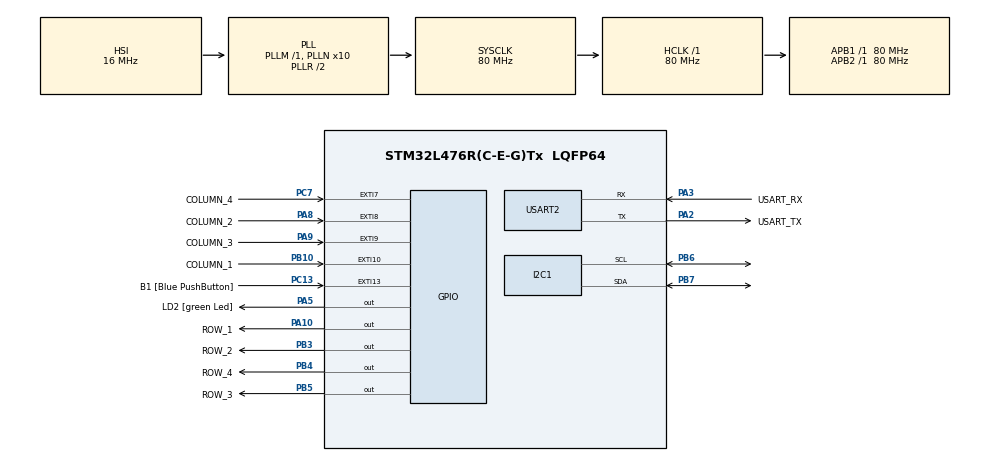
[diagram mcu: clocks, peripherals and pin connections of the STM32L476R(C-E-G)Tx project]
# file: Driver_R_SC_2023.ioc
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I2C1.Timing=0x10909CEC
Mcu.Family=STM32L4
Mcu.Name=STM32L476R(C-E-G)Tx
Mcu.Package=LQFP64
NVIC.EXTI15_10_IRQn=true\:0\:0\:false\:false\:true\:true\:true\:true
NVIC.EXTI9_5_IRQn=true\:0\:0\:false\:false\:true\:true\:true\:true
NVIC.PriorityGroup=NVIC_PRIORITYGROUP_4
NVIC.USART2_IRQn=true\:0\:0\:false\:false\:true\:true\:true\:true
PA10.GPIO_Label=ROW_1
PA10.Signal=GPIO_Output
PA13\ (JTMS-SWDIO).GPIO_Label=TMS
PA13\ (JTMS-SWDIO).Mode=Serial_Wire
PA13\ (JTMS-SWDIO).Signal=SYS_JTMS-SWDIO
PA14\ (JTCK-SWCLK).GPIO_Label=TCK
PA14\ (JTCK-SWCLK).Mode=Serial_Wire
PA14\ (JTCK-SWCLK).Signal=SYS_JTCK-SWCLK
PA2.GPIO_Label=USART_TX
PA2.GPIO_Mode=GPIO_MODE_AF_PP
PA2.GPIO_PuPd=GPIO_NOPULL
PA2.GPIO_Speed=GPIO_SPEED_FREQ_VERY_HIGH
PA2.Mode=Asynchronous
PA2.Signal=USART2_TX
PA3.GPIO_Label=USART_RX
PA3.GPIO_Mode=GPIO_MODE_AF_PP
PA3.GPIO_PuPd=GPIO_NOPULL
PA3.GPIO_Speed=GPIO_SPEED_FREQ_VERY_HIGH
PA3.Mode=Asynchronous
PA3.Signal=USART2_RX
PA5.GPIO_Label=LD2 [green Led]
PA5.GPIO_ModeDefaultOutputPP=GPIO_MODE_OUTPUT_PP
PA5.GPIO_PuPd=GPIO_NOPULL
PA5.GPIO_Speed=GPIO_SPEED_FREQ_LOW
PA5.Signal=GPIO_Output
PA8.GPIO_Label=COLUMN_2
PA8.Signal=GPXTI8
PA9.GPIO_Label=COLUMN_3
PA9.Signal=GPXTI9
PB10.GPIO_Label=COLUMN_1
PB10.Signal=GPXTI10
PB3\ (JTDO-TRACESWO).GPIO_Label=ROW_2
PB3\ (JTDO-TRACESWO).Signal=GPIO_Output
PB4\ (NJTRST).GPIO_Label=ROW_4
PB4\ (NJTRST).Signal=GPIO_Output
PB5.GPIO_Label=ROW_3
PB5.Signal=GPIO_Output
PB6.Mode=I2C
PB6.Signal=I2C1_SCL
PB7.Mode=I2C
PB7.Signal=I2C1_SDA
PC13.GPIO_Label=B1 [Blue PushButton]
PC13.GPIO_ModeDefaultEXTI=GPIO_MODE_IT_FALLING
PC13.GPIO_PuPd=GPIO_NOPULL
PC13.Signal=GPXTI13
PC14-OSC32_IN\ (PC14).Mode=LSE-External-Oscillator
PC14-OSC32_IN\ (PC14).Signal=RCC_OSC32_IN
PC15-OSC32_OUT\ (PC15).Mode=LSE-External-Oscillator
PC15-OSC32_OUT\ (PC15).Signal=RCC_OSC32_OUT
PC7.GPIO_Label=COLUMN_4
PC7.Signal=GPXTI7
PH0-OSC_IN\ (PH0).Signal=RCC_OSC_IN
PH1-OSC_OUT\ (PH1).Signal=RCC_OSC_OUT
ProjectManager.HeapSize=0x200
ProjectManager.StackSize=0x400
ProjectManager.TargetToolchain=STM32CubeIDE
RCC.ADCFreq_Value=64000000
RCC.AHBFreq_Value=80000000
RCC.APB1Freq_Value=80000000
RCC.APB1TimFreq_Value=80000000
RCC.APB2Freq_Value=80000000
RCC.APB2TimFreq_Value=80000000
RCC.CortexFreq_Value=80000000
RCC.HCLKFreq_Value=80000000
RCC.HSE_VALUE=8000000
RCC.HSI_VALUE=16000000
RCC.MSI_VALUE=4000000
RCC.PLLN=10
RCC.PLLSourceVirtual=RCC_PLLSOURCE_HSI
RCC.PREFETCH_ENABLE=1
RCC.SYSCLKFreq_VALUE=80000000
RCC.SYSCLKSource=RCC_SYSCLKSOURCE_PLLCLK
RCC.USBFreq_Value=64000000
RCC.VCOOutputFreq_Value=160000000
USART2.VirtualMode-Asynchronous=VM_ASYNC
board=NUCLEO-L476RG

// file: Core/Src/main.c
/* USER CODE BEGIN Header */
/**
  ******************************************************************************
  * @file           : main.c
  * @brief          : Main program body
  ******************************************************************************
  * @attention
  *
  * Copyright (c) 2023 STMicroelectronics.
  * All rights reserved.
  *
  * This software is licensed under terms that can be found in the LICENSE file
  * in the root directory of this software component.
  * If no LICENSE file comes with this software, it is provided AS-IS.
  *
  ******************************************************************************
  */
/* USER CODE END Header */
#include "main.h"

/* USER CODE BEGIN Includes */
#include <stdio.h>

#include "ring_buffer.h"

#include "ssd1306.h"

#include "ssd1306_fonts.h"
/* USER CODE END Includes */

I2C_HandleTypeDef hi2c1;

UART_HandleTypeDef huart2;

/* USER CODE BEGIN PV */

ring_buffer_t ring_buffer_uart_rx;

uint8_t rx_buffer[16];

uint8_t rx_data;

uint16_t key_event = 0xFF;

uint8_t count = 0;//contador para la cantidad de veces que se ha presionado una tecla

uint16_t memory[5]; //variable en la que se guardara la contraseña con la que se hara la comparacion de la memoria temporal
/* USER CODE END PV */

void SystemClock_Config(void);
static void MX_GPIO_Init(void);
static void MX_USART2_UART_Init(void);
static void MX_I2C1_Init(void);

/* USER CODE BEGIN 0 */
int _write(int file, char *ptr, int len)
{
  HAL_UART_Transmit(&huart2, (uint8_t *)ptr, len, HAL_MAX_DELAY);
  return len;
}
/**
  * @brief  Rx Transfer completed callback.
  * @param  huart UART handle.
  * @retval None
  */
void HAL_UART_RxCpltCallback(UART_HandleTypeDef *huart)
{
	if (ring_buffer_put(&ring_buffer_uart_rx, rx_data) == 0) {
		printf("Rx buffer is full\r\n");
	}

	HAL_UART_Receive_IT(&huart2, &rx_data, 1);
}

/**
  * @brief  EXTI line detection callback.
  * @param  GPIO_Pin Specifies the port pin connected
  *         to corresponding EXTI line.
  * @retval None
  */
void HAL_GPIO_EXTI_Callback(uint16_t GPIO_Pin)
{
	key_event = GPIO_Pin;
}

/**
 * @brief This functions initialize the functionality of the keypad
 */
void keypad_init(void)
{
	/* Set the rows high to be detected in the columns by rising interrupt */
	ROW_1_GPIO_Port->BSRR = ROW_1_Pin;
	ROW_2_GPIO_Port->BSRR = ROW_2_Pin;
	ROW_3_GPIO_Port->BSRR = ROW_3_Pin;
	ROW_4_GPIO_Port->BSRR = ROW_4_Pin;
}

/**
 * @brief  This function debounces and identify keypad events.
 * @param  column_to_evaluate: the column where the event happened.
 * @retval 0xFF -> invalid key. [0x00 - 0x0F] -> valid key.
 */
uint8_t keypad_handler(uint16_t column_to_evaluate)
{
	uint8_t key_pressed = 0xFF; // Value to return

	/* Debounce the key press (remove noise in the key) */
#define KEY_DEBOUNCE_MS 300 /*!> Minimum time required for since last press */
	static uint32_t last_pressed_tick = 0;
	if (HAL_GetTick() <= (last_pressed_tick + KEY_DEBOUNCE_MS)) {
		// less than KEY_DEBOUNCE_MS since last press. Probably noise
		return key_pressed; // return 0xFF
	}
	last_pressed_tick = HAL_GetTick();

	/* Check in which column the event happened */
	switch (column_to_evaluate) {

	case COLUMN_1_Pin:
		ROW_1_GPIO_Port->BSRR = ROW_1_Pin; // turn on row 1
		ROW_2_GPIO_Port->BRR = ROW_2_Pin;  // turn off row 2
		ROW_3_GPIO_Port->BRR = ROW_3_Pin;  // turn off row 3
		ROW_4_GPIO_Port->BRR = ROW_4_Pin;  // turn off row 4
		HAL_Delay(2); // wait for voltage to establish
		if (COLUMN_1_GPIO_Port->IDR & COLUMN_1_Pin) {
			key_pressed = 0x01; // if column 1 is still high -> column 1 + row 1 = key 1
			break;
		}

		ROW_1_GPIO_Port->BRR = ROW_1_Pin; 	// turn off row 1
		ROW_2_GPIO_Port->BSRR = ROW_2_Pin; 	// turn on row 2
		HAL_Delay(2); // wait for voltage to establish
		if (COLUMN_1_GPIO_Port->IDR & COLUMN_1_Pin) {
			key_pressed = 0x04; // if column 1 is still high -> column 1 + row 2 = key 4
			break;
		}

		ROW_2_GPIO_Port->BRR = ROW_2_Pin; 	// turn off row 2
		ROW_3_GPIO_Port->BSRR = ROW_3_Pin; 	// turn on row 3
		HAL_Delay(2); // wait for voltage to establish
		if (COLUMN_1_GPIO_Port->IDR & COLUMN_1_Pin) {
			key_pressed = 0x07; // if column 1 is still high -> column 1 + row 3 = key 7
			break;
		}

		ROW_3_GPIO_Port->BRR = ROW_3_Pin;	// turn off row 3
		ROW_4_GPIO_Port->BSRR = ROW_4_Pin; 	// turn on row 4
		HAL_Delay(2); // wait for voltage to establish
		if (COLUMN_1_GPIO_Port->IDR & COLUMN_1_Pin) {
			key_pressed = 0x0E; // if column 1 is still high -> column 1 + row 4 = key *
			break;
		}
	  break;

	case COLUMN_2_Pin:
		ROW_1_GPIO_Port->BSRR = ROW_1_Pin; // turn on row 1
		ROW_2_GPIO_Port->BRR = ROW_2_Pin;  // turn off row 2
		ROW_3_GPIO_Port->BRR = ROW_3_Pin;  // turn off row 3
		ROW_4_GPIO_Port->BRR = ROW_4_Pin;  // turn off row 4
		HAL_Delay(2); // wait for voltage to establish
		if (COLUMN_2_GPIO_Port->IDR & COLUMN_2_Pin) {
			key_pressed = 0x02; // if column 2 is still high -> column 2 + row 1 = key 2
			break;
		}

		ROW_1_GPIO_Port->BRR = ROW_1_Pin; 	// turn off row 1
		ROW_2_GPIO_Port->BSRR = ROW_2_Pin; 	// turn on row 2
		HAL_Delay(2); // wait for voltage to establish
		if (COLUMN_2_GPIO_Port->IDR & COLUMN_2_Pin) {
			key_pressed = 0x05; // if column 2 is still high -> column 2 + row 2 = key 5
			break;
		}

		ROW_2_GPIO_Port->BRR = ROW_2_Pin; 	// turn off row 2
		ROW_3_GPIO_Port->BSRR = ROW_3_Pin; 	// turn on row 3
		HAL_Delay(2); // wait for voltage to establish
		if (COLUMN_2_GPIO_Port->IDR & COLUMN_2_Pin) {
			key_pressed = 0x08; // if column 2 is still high -> column 2 + row 3 = key 8
			break;
		}

		ROW_3_GPIO_Port->BRR = ROW_3_Pin;	// turn off row 3
		ROW_4_GPIO_Port->BSRR = ROW_4_Pin; 	// turn on row 4
		HAL_Delay(2); // wait for voltage to establish
		if (COLUMN_2_GPIO_Port->IDR & COLUMN_2_Pin) {
			key_pressed = 0x00; // if column 2 is still high -> column 2 + row 4 = key 0
			break;
		}
		break;

	case COLUMN_3_Pin:
		ROW_1_GPIO_Port->BSRR = ROW_1_Pin; // turn on row 1
		ROW_2_GPIO_Port->BRR = ROW_2_Pin;  // turn off row 2
		ROW_3_GPIO_Port->BRR = ROW_3_Pin;  // turn off row 3
		ROW_4_GPIO_Port->BRR = ROW_4_Pin;  // turn off row 4
		HAL_Delay(2); // wait for voltage to establish
		if (COLUMN_3_GPIO_Port->IDR & COLUMN_3_Pin) {
			key_pressed = 0x03; // if column 3 is still high -> column 3 + row 1 = key 3
			break;
		}

		ROW_1_GPIO_Port->BRR = ROW_1_Pin; 	// turn off row 1
		ROW_2_GPIO_Port->BSRR = ROW_2_Pin; 	// turn on row 2
		HAL_Delay(2); // wait for voltage to establish
		if (COLUMN_3_GPIO_Port->IDR & COLUMN_3_Pin) {
			key_pressed = 0x06; // if column 3 is still high -> column 3 + row 2 = key 6
			break;
		}

		ROW_2_GPIO_Port->BRR = ROW_2_Pin; 	// turn off row 2
		ROW_3_GPIO_Port->BSRR = ROW_3_Pin; 	// turn on row 3
		HAL_Delay(2); // wait for voltage to establish
		if (COLUMN_3_GPIO_Port->IDR & COLUMN_3_Pin) {
			key_pressed = 0x09; // if column 3 is still high -> column 3 + row 3 = key 9
			break;
		}

		ROW_3_GPIO_Port->BRR = ROW_3_Pin;	// turn off row 3
		ROW_4_GPIO_Port->BSRR = ROW_4_Pin; 	// turn on row 4
		HAL_Delay(2); // wait for voltage to establish
		if (COLUMN_3_GPIO_Port->IDR & COLUMN_3_Pin) {
			key_pressed = 0x0F; // if column 3 is still high -> column 3 + row 4 = key #
			break;
		}
		break;

	case COLUMN_4_Pin:
		ROW_1_GPIO_Port->BSRR = ROW_1_Pin; // turn on row 1
		ROW_2_GPIO_Port->BRR = ROW_2_Pin;  // turn off row 2
		ROW_3_GPIO_Port->BRR = ROW_3_Pin;  // turn off row 3
		ROW_4_GPIO_Port->BRR = ROW_4_Pin;  // turn off row 4
		HAL_Delay(2); // wait for voltage to establish
		if (COLUMN_4_GPIO_Port->IDR & COLUMN_4_Pin) {
			key_pressed = 0x0A; // if column 4 is still high -> column 4 + row 1 = key A
			break;
		}

		ROW_1_GPIO_Port->BRR = ROW_1_Pin; 	// turn off row 1
		ROW_2_GPIO_Port->BSRR = ROW_2_Pin; 	// turn on row 2
		HAL_Delay(2); // wait for voltage to establish
		if (COLUMN_4_GPIO_Port->IDR & COLUMN_4_Pin) {
			key_pressed = 0x0B; // if column 4 is still high -> column 4 + row 2 = key B
			break;
		}

		ROW_2_GPIO_Port->BRR = ROW_2_Pin; 	// turn off row 2
		ROW_3_GPIO_Port->BSRR = ROW_3_Pin; 	// turn on row 3
		HAL_Delay(2); // wait for voltage to establish
		if (COLUMN_4_GPIO_Port->IDR & COLUMN_4_Pin) {
			key_pressed = 0x0C; // if column 4 is still high -> column 4 + row 3 = key C
			break;
		}

		ROW_3_GPIO_Port->BRR = ROW_3_Pin;	// turn off row 3
		ROW_4_GPIO_Port->BSRR = ROW_4_Pin; 	// turn on row 4
		HAL_Delay(2); // wait for voltage to establish
		if (COLUMN_4_GPIO_Port->IDR & COLUMN_4_Pin) {
			key_pressed = 0x0D; // if column 4 is still high -> column 4 + row 4 = key D
			break;
		}
		break;

	default:
		/* This should not be reached */
		printf("Unknown column: %x\r\n", column_to_evaluate);
	  break;
	}

	keypad_init(); // set the columns high again
	return key_pressed; // invalid: 0xFF, valid:[0x00-0x0F]
}
/* USER CODE END 0 */

int main(void)
{

  /* MCU Configuration--------------------------------------------------------*/

  /* Reset of all peripherals, Initializes the Flash interface and the Systick. */
  HAL_Init();

  /* Configure the system clock */
  SystemClock_Config();

  /* Initialize all configured peripherals */

  MX_GPIO_Init();
  MX_USART2_UART_Init();
  MX_I2C1_Init();

  /* USER CODE BEGIN 2 */
  ring_buffer_init(&ring_buffer_uart_rx, rx_buffer, 16);
  keypad_init(); // Initialize the keypad functionality
  HAL_UART_Receive_IT(&huart2, &rx_data, 1);

  ssd1306_Init();
  ssd1306_Fill(Black);
  ssd1306_SetCursor(20, 20);
  ssd1306_WriteString("<3", Font_7x10, White);
  ssd1306_UpdateScreen();

  /* USER CODE END 2 */

  /* Infinite loop */
  /* USER CODE BEGIN WHILE */
  while (1)
  {
	 /* if (key_event != 0xFF) { // check if there is a event from the EXTi callback
		  uint16_t key_pressed = keypad_handler(key_event); // call the keypad handler
		  if (key_pressed != 0xFF) {
			  printf("Key pressed: %x\r\n", key_pressed); // print the key pressed
		  }
		  key_event = 0xFF; // clean the event
	  }

	  */
	  // se ingresa cada vez que se pulsa un tecla del taclado.
	  if (key_event != 0xFF) { // check if there is a event from the EXTi callback
	 		  uint16_t key_pressed = keypad_handler(key_event); // call the keypad handler
	 		  if (key_pressed != 0xFF) {
	 			  printf("Key pressed: %x\r\n", key_pressed); // print the key pressed

	 			  //save the four digits of the key and press '#' to end the reading and proceed with the verification.
	 			  if (memory[4] != 0x0F){
	 			  memory[count] = key_pressed;
	 			  count = count + 1;}
	 		  	  }

	 		  	  // validation for date of birth 1999.
	 		  	  // It is validated by pressing the # key to complete the 5 keys pressed.
	 		  	  if (memory[4] == 0x0F){
	 		  		  // To check if the values entered match, Pass is printed on the screen.
	 		  		  if (memory[0] == 0x01 && memory[1] == 0x09 && memory[2] == 0x09 && memory[3] == 0x09){
	 		  			  ssd1306_Init();
	 		  			  ssd1306_Fill(Black);
	 		  			  ssd1306_SetCursor(20, 20);
	 		  			  ssd1306_WriteString("Pass", Font_7x10, White);
	 		  			  ssd1306_UpdateScreen();

	 		  		  } else {
	 		  			  //otherwise Fail is printed on the screen.
	 		  			  ssd1306_Init();
	 		  			  ssd1306_Fill(Black);
	 		  			  ssd1306_SetCursor(20, 20);
	 		  			  ssd1306_WriteString("Fail", Font_7x10, White);
	 		  			  ssd1306_UpdateScreen();
	 		  		  	  	  }
	 		  	  	  }
	 		  	  	  //Once you have entered the data and verified whether the key is correct or not, press '*' to re-enter a key.
	 		  	  if (key_pressed == 0x0E){
	 		  		  for (uint8_t i = 0; i < 5 ; i++){
	 		  			  memory[i]= 0;
	 		  			  count = 0;
	 		  		  }
	 		  		  ssd1306_Init();
	 		  		  ssd1306_Fill(Black);
	 		  		  ssd1306_SetCursor(20, 20);
	 		  		  ssd1306_WriteString("Ingrese key", Font_7x10, White);
	 		  		  ssd1306_UpdateScreen();
	 		  	  }
	 		  key_event = 0xFF; // clean the event

	  	  }

    /* USER CODE END WHILE */

  }
}

void SystemClock_Config(void)
{
  RCC_OscInitTypeDef RCC_OscInitStruct = {0};
  RCC_ClkInitTypeDef RCC_ClkInitStruct = {0};

  /** Configure the main internal regulator output voltage
  */
  if (HAL_PWREx_ControlVoltageScaling(PWR_REGULATOR_VOLTAGE_SCALE1) != HAL_OK)
  {
    Error_Handler();
  }

  /** Initializes the RCC Oscillators according to the specified parameters
  * in the RCC_OscInitTypeDef structure.
  */
  RCC_OscInitStruct.OscillatorType = RCC_OSCILLATORTYPE_HSI;
  RCC_OscInitStruct.HSIState = RCC_HSI_ON;
  RCC_OscInitStruct.HSICalibrationValue = RCC_HSICALIBRATION_DEFAULT;
  RCC_OscInitStruct.PLL.PLLState = RCC_PLL_ON;
  RCC_OscInitStruct.PLL.PLLSource = RCC_PLLSOURCE_HSI;
  RCC_OscInitStruct.PLL.PLLM = 1;
  RCC_OscInitStruct.PLL.PLLN = 10;
  RCC_OscInitStruct.PLL.PLLP = RCC_PLLP_DIV7;
  RCC_OscInitStruct.PLL.PLLQ = RCC_PLLQ_DIV2;
  RCC_OscInitStruct.PLL.PLLR = RCC_PLLR_DIV2;
  if (HAL_RCC_OscConfig(&RCC_OscInitStruct) != HAL_OK)
  {
    Error_Handler();
  }

  /** Initializes the CPU, AHB and APB buses clocks
  */
  RCC_ClkInitStruct.ClockType = RCC_CLOCKTYPE_HCLK|RCC_CLOCKTYPE_SYSCLK
                              |RCC_CLOCKTYPE_PCLK1|RCC_CLOCKTYPE_PCLK2;
  RCC_ClkInitStruct.SYSCLKSource = RCC_SYSCLKSOURCE_PLLCLK;
  RCC_ClkInitStruct.AHBCLKDivider = RCC_SYSCLK_DIV1;
  RCC_ClkInitStruct.APB1CLKDivider = RCC_HCLK_DIV1;
  RCC_ClkInitStruct.APB2CLKDivider = RCC_HCLK_DIV1;

  if (HAL_RCC_ClockConfig(&RCC_ClkInitStruct, FLASH_LATENCY_4) != HAL_OK)
  {
    Error_Handler();
  }
}

static void MX_I2C1_Init(void)
{

  hi2c1.Instance = I2C1;
  hi2c1.Init.Timing = 0x10909CEC;
  hi2c1.Init.OwnAddress1 = 0;
  hi2c1.Init.AddressingMode = I2C_ADDRESSINGMODE_7BIT;
  hi2c1.Init.DualAddressMode = I2C_DUALADDRESS_DISABLE;
  hi2c1.Init.OwnAddress2 = 0;
  hi2c1.Init.OwnAddress2Masks = I2C_OA2_NOMASK;
  hi2c1.Init.GeneralCallMode = I2C_GENERALCALL_DISABLE;
  hi2c1.Init.NoStretchMode = I2C_NOSTRETCH_DISABLE;
  if (HAL_I2C_Init(&hi2c1) != HAL_OK)
  {
    Error_Handler();
  }

  /** Configure Analogue filter
  */
  if (HAL_I2CEx_ConfigAnalogFilter(&hi2c1, I2C_ANALOGFILTER_ENABLE) != HAL_OK)
  {
    Error_Handler();
  }

  /** Configure Digital filter
  */
  if (HAL_I2CEx_ConfigDigitalFilter(&hi2c1, 0) != HAL_OK)
  {
    Error_Handler();
  }

}

static void MX_USART2_UART_Init(void)
{

  huart2.Instance = USART2;
  huart2.Init.BaudRate = 115200;
  huart2.Init.WordLength = UART_WORDLENGTH_8B;
  huart2.Init.StopBits = UART_STOPBITS_1;
  huart2.Init.Parity = UART_PARITY_NONE;
  huart2.Init.Mode = UART_MODE_TX_RX;
  huart2.Init.HwFlowCtl = UART_HWCONTROL_NONE;
  huart2.Init.OverSampling = UART_OVERSAMPLING_16;
  huart2.Init.OneBitSampling = UART_ONE_BIT_SAMPLE_DISABLE;
  huart2.AdvancedInit.AdvFeatureInit = UART_ADVFEATURE_NO_INIT;
  if (HAL_UART_Init(&huart2) != HAL_OK)
  {
    Error_Handler();
  }

}

static void MX_GPIO_Init(void)
{
  GPIO_InitTypeDef GPIO_InitStruct = {0};

  /* GPIO Ports Clock Enable */
  __HAL_RCC_GPIOC_CLK_ENABLE();
  __HAL_RCC_GPIOH_CLK_ENABLE();
  __HAL_RCC_GPIOA_CLK_ENABLE();
  __HAL_RCC_GPIOB_CLK_ENABLE();

  /*Configure GPIO pin Output Level */
  HAL_GPIO_WritePin(GPIOA, LD2_Pin|ROW_1_Pin, GPIO_PIN_RESET);

  /*Configure GPIO pin Output Level */
  HAL_GPIO_WritePin(GPIOB, ROW_2_Pin|ROW_4_Pin|ROW_3_Pin, GPIO_PIN_RESET);

  /*Configure GPIO pin : B1_Pin */
  GPIO_InitStruct.Pin = B1_Pin;
  GPIO_InitStruct.Mode = GPIO_MODE_IT_FALLING;
  GPIO_InitStruct.Pull = GPIO_NOPULL;
  HAL_GPIO_Init(B1_GPIO_Port, &GPIO_InitStruct);

  /*Configure GPIO pins : LD2_Pin ROW_1_Pin */
  GPIO_InitStruct.Pin = LD2_Pin|ROW_1_Pin;
  GPIO_InitStruct.Mode = GPIO_MODE_OUTPUT_PP;
  GPIO_InitStruct.Pull = GPIO_NOPULL;
  GPIO_InitStruct.Speed = GPIO_SPEED_FREQ_LOW;
  HAL_GPIO_Init(GPIOA, &GPIO_InitStruct);

  /*Configure GPIO pin : COLUMN_1_Pin */
  GPIO_InitStruct.Pin = COLUMN_1_Pin;
  GPIO_InitStruct.Mode = GPIO_MODE_IT_RISING;
  GPIO_InitStruct.Pull = GPIO_NOPULL;
  HAL_GPIO_Init(COLUMN_1_GPIO_Port, &GPIO_InitStruct);

  /*Configure GPIO pin : COLUMN_4_Pin */
  GPIO_InitStruct.Pin = COLUMN_4_Pin;
  GPIO_InitStruct.Mode = GPIO_MODE_IT_RISING;
  GPIO_InitStruct.Pull = GPIO_NOPULL;
  HAL_GPIO_Init(COLUMN_4_GPIO_Port, &GPIO_InitStruct);

  /*Configure GPIO pins : COLUMN_2_Pin COLUMN_3_Pin */
  GPIO_InitStruct.Pin = COLUMN_2_Pin|COLUMN_3_Pin;
  GPIO_InitStruct.Mode = GPIO_MODE_IT_RISING;
  GPIO_InitStruct.Pull = GPIO_NOPULL;
  HAL_GPIO_Init(GPIOA, &GPIO_InitStruct);

  /*Configure GPIO pins : ROW_2_Pin ROW_4_Pin ROW_3_Pin */
  GPIO_InitStruct.Pin = ROW_2_Pin|ROW_4_Pin|ROW_3_Pin;
  GPIO_InitStruct.Mode = GPIO_MODE_OUTPUT_PP;
  GPIO_InitStruct.Pull = GPIO_NOPULL;
  GPIO_InitStruct.Speed = GPIO_SPEED_FREQ_LOW;
  HAL_GPIO_Init(GPIOB, &GPIO_InitStruct);

  /* EXTI interrupt init*/
  HAL_NVIC_SetPriority(EXTI9_5_IRQn, 0, 0);
  HAL_NVIC_EnableIRQ(EXTI9_5_IRQn);

  HAL_NVIC_SetPriority(EXTI15_10_IRQn, 0, 0);
  HAL_NVIC_EnableIRQ(EXTI15_10_IRQn);

}

void Error_Handler(void)
{
  __disable_irq();
  while (1)
  {
  }
}
